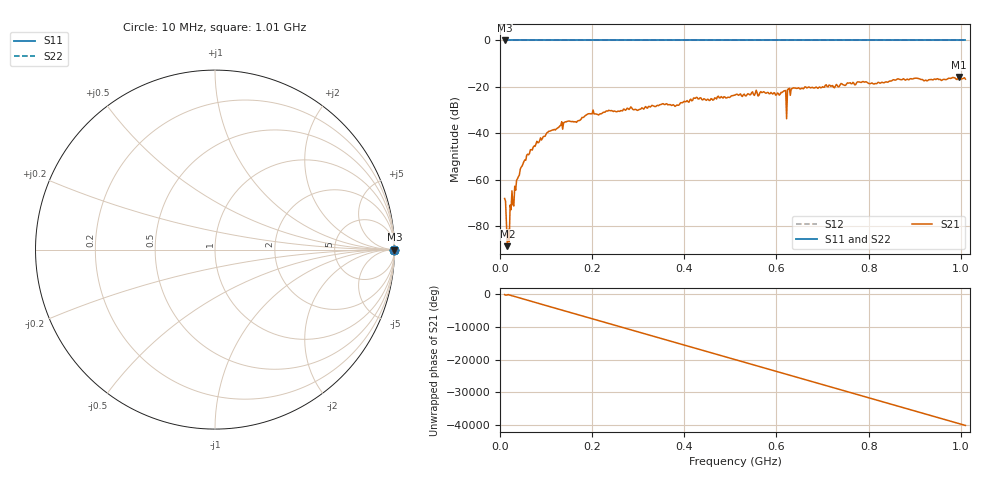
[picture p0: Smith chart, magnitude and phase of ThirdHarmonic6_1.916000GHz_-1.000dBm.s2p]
! 8/16/2025 11:06:40 PM
! C:\ANRITSUVNA\TEMP\TEMP.S2P
! CHANNEL.1
! TR.MEASUREMENT
! RAW.DATA
! RF.CORRECTION.OFF
! AVERAGING.OFF
! IF.BANDWIDTH: 5KHZ
! SWEEPTYPE:  FREQ.SWEEP(Linear)
! Reference Plane Port Info
! PORT:  PORT1  PORT2
! DISTANCE:  0  m  0  m
! TIME:  0  s  0  s
! PHASE.OFFSET:  0  deg.  0  deg.
! LOSS:  0  dB  0  dB
! REF.LOSS:  0  dB  0  dB
! REF.FREQ:  0  Hz  0  Hz
! Power Info
! POWER:  -20  dBm  -20  dBm
! EFF.POWER:  -20  dBm  -20  dBm
! SOURCE.ATTEN:  0  dB  0  dB
! TEST.ATTEN:  0  dB  0  dB
# GHZ S RI R 50.0
! FREQ.GHZ  S11RE  S11IM  S21RE  S21IM  S12RE  S12IM  S22RE  S22IM
!; PortSelection: Port_12
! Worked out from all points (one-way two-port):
!   501 points, 10 MHz to 1.01 GHz, reference 50 ohm
!   highest |S21| = -15.75 dB at 996 MHz (marker M1); lowest = -88.7 dB at 16 MHz (marker M2)
!   lowest |S11| = 0.0 dB at 10 MHz (marker M3)
!   |S11| at or under -10 dB: nowhere
!   |S22| runs from 0.0 to 0.0 dB; largest |S21 - S12| = 1.2
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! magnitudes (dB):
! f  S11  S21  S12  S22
! 10 MHz  0.0  -68.1  0.0  0.0
! 16 MHz  0.0  -88.7  0.0  0.0
! 20 MHz  0.0  -86.7  0.0  0.0
! 24 MHz  0.0  -72.9  0.0  0.0
! 40 MHz  0.0  -58.7  0.0  0.0
! 62 MHz  0.0  -49.3  0.0  0.0
! 106 MHz  0.0  -39.2  0.0  0.0
! 142 MHz  0.0  -35.1  0.0  0.0
! 178 MHz  0.0  -33.2  0.0  0.0
! 198 MHz  0.0  -31.6  0.0  0.0
! 344 MHz  0.0  -28.1  0.0  0.0
! 384 MHz  0.0  -27.8  0.0  0.0
! 510 MHz  0.0  -23.6  0.0  0.0
! 616 MHz  0.0  -21.8  0.0  0.0
! 618 MHz  0.0  -21.6  0.0  0.0
! 626 MHz  0.0  -21.0  0.0  0.0
! 628 MHz  0.0  -20.6  0.0  0.0
! 636 MHz  0.0  -20.5  0.0  0.0
! 678 MHz  0.0  -20.2  0.0  0.0
! 844 MHz  0.0  -17.7  0.0  0.0
! 996 MHz  0.0  -15.8  0.0  0.0
! 1.01 GHz  0.0  -16.7  0.0  0.0
